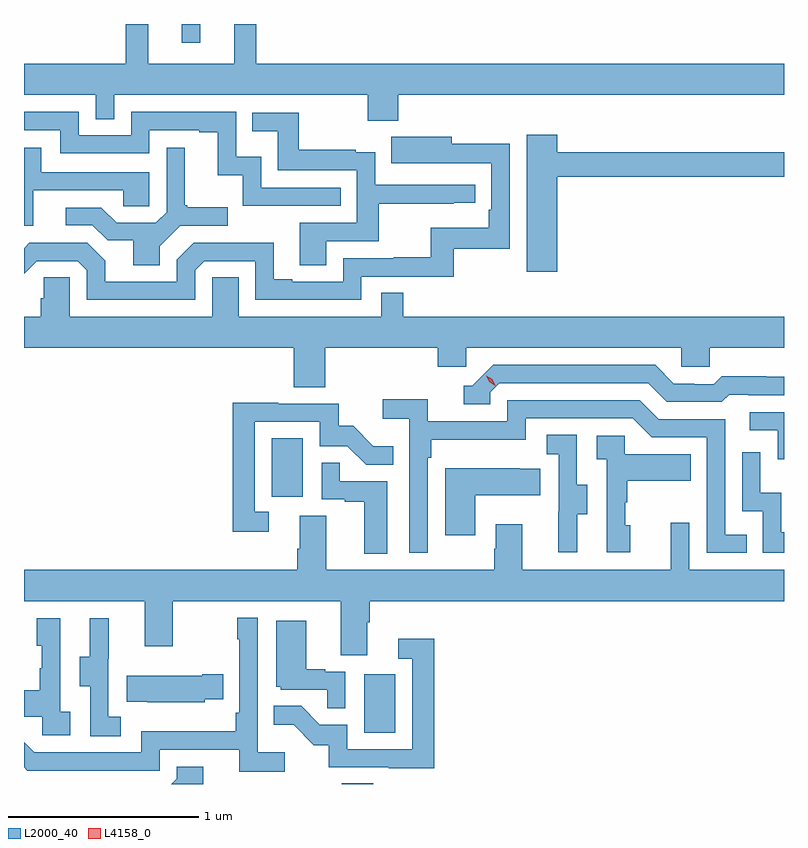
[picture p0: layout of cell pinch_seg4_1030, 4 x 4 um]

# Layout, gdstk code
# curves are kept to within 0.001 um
import gdstk
lib = gdstk.Library(unit=1e-6, precision=1e-09)
def R(c, l, rs):  # rectangles x0, y0, x1, y1
    for r in rs: c.add(gdstk.rectangle(r[:2], r[2:], *l))
def P(c, l, *ps):  # polygons
    for p in ps: c.add(gdstk.Polygon(p, *l))
L2000_40 = (2000, 40)
L4158_0 = (4158, 0)

pinch_seg4_1030 = lib.new_cell('pinch_seg4_1030')
R(pinch_seg4_1030, L2000_40, [(818.813,754.565,818.978,754.568), (818.93,754.836,819.094,755.143), (818.444,756.078,818.608,756.385), (817.97,758.466,818.067,758.565)])
P(pinch_seg4_1030, L2000_40, [(819.11,758.192),(821.14,758.192),(821.14,758.356),(818.363,758.356),(818.363,758.565),(818.246,758.565),(818.246,758.356),(817.793,758.356),(817.793,758.565),(817.675,758.565),(817.675,758.356),(817.14,758.356),(817.14,758.192),(817.518,758.192),(817.518,758.065),(817.614,758.065),(817.614,758.192),(818.95,758.192),(818.95,758.057),(819.11,758.057)],
  [(818.807,757.704),(818.388,757.704),(818.388,757.867),(818.256,757.867),(818.256,758.103),(817.704,758.103),(817.704,757.98),(817.428,757.98),(817.428,758.103),(817.14,758.103),(817.14,758.007),(817.332,758.007),(817.332,757.884),(817.8,757.884),(817.8,758.007),(818.063,758.007),(818.063,757.995),(818.159,757.995),(818.159,757.769),(818.292,757.769),(818.292,757.608),(818.807,757.608)],
  [(818.731,757.422),(819.008,757.422),(819.008,757.618),(819.401,757.618),(819.401,757.623),(819.514,757.623),(819.514,757.719),(818.988,757.719),(818.988,757.891),(818.885,757.891),(818.885,757.903),(818.587,757.903),(818.587,758.097),(818.341,758.097),(818.341,758),(818.476,758),(818.476,757.794),(818.892,757.794),(818.892,757.518),(818.591,757.518),(818.591,757.294),(818.731,757.294)],
  [(819.946,757.762),(821.14,757.762),(821.14,757.891),(819.946,757.891),(819.946,757.981),(819.785,757.981),(819.785,757.26),(819.946,757.26)],
  [(818.04,757.269),(818.088,757.317),(818.358,757.317),(818.358,757.113),(818.916,757.113),(818.916,757.236),(819.403,757.236),(819.403,757.383),(819.696,757.383),(819.696,757.934),(819.391,757.934),(819.391,757.972),(819.073,757.972),(819.073,757.832),(819.6,757.833),(819.6,757.588),(819.587,757.588),(819.587,757.492),(819.282,757.492),(819.282,757.337),(819.085,757.337),(819.085,757.332),(818.82,757.332),(818.82,757.209),(818.551,757.209),(818.551,757.222),(818.455,757.222),(818.455,757.415),(818.25,757.415),(818.25,757.413),(818.034,757.413),(817.944,757.323),(817.944,757.209),(817.567,757.209),(817.567,757.319),(817.473,757.413),(817.167,757.413),(817.14,757.386),(817.14,757.251),(817.206,757.317),(817.422,757.317),(817.47,757.269),(817.47,757.113),(818.04,757.113)],
  [(817.855,757.396),(817.962,757.503),(818.212,757.503),(818.212,757.6),(817.999,757.6),(817.999,757.612),(817.987,757.612),(817.987,757.915),(817.89,757.915),(817.89,757.575),(817.833,757.518),(817.627,757.518),(817.546,757.599),(817.359,757.599),(817.359,757.506),(817.5,757.506),(817.58,757.426),(817.715,757.426),(817.715,757.294),(817.855,757.294)],
  [(817.189,757.689),(817.663,757.689),(817.663,757.605),(817.8,757.605),(817.8,757.785),(817.231,757.785),(817.231,757.915),(817.14,757.915),(817.14,757.503),(817.189,757.503)],
  [(818.726,756.86),(819.317,756.86),(819.317,756.762),(819.468,756.762),(819.468,756.86),(820.599,756.86),(820.599,756.762),(820.749,756.762),(820.749,756.86),(821.14,756.86),(821.14,757.024),(819.137,757.024),(819.137,757.151),(819.021,757.151),(819.021,757.024),(818.269,757.024),(818.269,757.232),(818.13,757.232),(818.13,757.024),(817.38,757.024),(817.38,757.232),(817.243,757.232),(817.243,757.122),(817.229,757.122),(817.229,757.024),(817.14,757.024),(817.14,756.86),(818.561,756.86),(818.561,756.652),(818.726,756.652)],
  [(819.594,756.627),(819.642,756.675),(820.425,756.675),(820.524,756.576),(820.813,756.576),(820.852,756.615),(820.951,756.615),(820.951,756.612),(821.14,756.612),(821.14,756.709),(821.046,756.709),(821.046,756.712),(820.813,756.712),(820.771,756.669),(820.668,756.669),(820.668,756.672),(820.561,756.672),(820.462,756.771),(819.609,756.771),(819.498,756.66),(819.455,756.66),(819.455,756.564),(819.594,756.564)],
  [(819.264,756.281),(819.284,756.281),(819.284,756.377),(819.78,756.377),(819.78,756.489),(820.344,756.489),(820.443,756.39),(820.734,756.39),(820.734,755.781),(820.943,755.781),(820.943,755.877),(820.83,755.877),(820.83,756.486),(820.48,756.486),(820.381,756.585),(819.684,756.585),(819.684,756.474),(819.266,756.474),(819.266,756.59),(819.027,756.59),(819.027,756.488),(819.168,756.488),(819.168,755.781),(819.264,755.781)],
  [(818.428,755.997),(818.355,755.997),(818.355,756.471),(818.697,756.471),(818.697,756.342),(818.842,756.342),(818.94,756.244),(819.083,756.244),(819.083,756.343),(818.979,756.343),(818.872,756.45),(818.796,756.45),(818.796,756.567),(818.477,756.567),(818.477,756.572),(818.239,756.572),(818.239,755.892),(818.428,755.892)],
  [(821.14,756.522),(820.959,756.522),(820.959,756.426),(821.106,756.426),(821.106,756.273),(821.14,756.273)],
  [(820.051,755.986),(820.105,755.986),(820.105,756.141),(820.05,756.141),(820.05,756.404),(819.891,756.404),(819.891,756.301),(819.954,756.301),(819.954,755.997),(819.953,755.997),(819.953,755.784),(820.051,755.784)],
  [(820.33,755.928),(820.305,755.928),(820.305,756.047),(820.315,756.047),(820.315,756.161),(820.649,756.161),(820.649,756.301),(820.302,756.301),(820.302,756.399),(820.155,756.399),(820.155,756.275),(820.206,756.275),(820.206,755.784),(820.33,755.784)],
  [(821.14,755.89),(821.126,755.89),(821.126,756.098),(821.016,756.098),(821.016,756.31),(820.92,756.31),(820.92,756),(821.028,756),(821.028,755.781),(821.14,755.781)],
  [(819.052,756.159),(818.801,756.159),(818.801,756.257),(818.706,756.257),(818.706,756.063),(818.827,756.063),(818.827,756.051),(818.93,756.051),(818.93,755.777),(819.052,755.777)],
  [(819.514,756.086),(819.857,756.086),(819.857,756.223),(819.749,756.223),(819.749,756.226),(819.356,756.226),(819.356,755.874),(819.514,755.874)],
  [(818.731,755.978),(818.591,755.978),(818.591,755.804),(818.579,755.804),(818.579,755.692),(817.14,755.692),(817.14,755.528),(817.775,755.528),(817.775,755.289),(817.923,755.289),(817.923,755.528),(818.807,755.528),(818.807,755.242),(818.947,755.242),(818.947,755.416),(818.96,755.416),(818.96,755.528),(821.14,755.528),(821.14,755.692),(820.641,755.692),(820.641,755.941),(820.544,755.941),(820.544,755.692),(819.763,755.692),(819.763,755.932),(819.623,755.932),(819.623,755.804),(819.616,755.804),(819.616,755.692),(818.731,755.692)],
  [(818.512,754.732),(818.37,754.732),(818.37,755.44),(818.262,755.44),(818.262,755.327),(818.274,755.327),(818.274,754.939),(818.254,754.939),(818.254,754.843),(817.758,754.843),(817.758,754.731),(817.194,754.731),(817.14,754.785),(817.14,754.652),(817.157,754.635),(817.854,754.635),(817.854,754.746),(818.273,754.746),(818.273,754.63),(818.512,754.63)],
  [(817.384,754.946),(817.332,754.946),(817.332,755.437),(817.208,755.437),(817.208,755.292),(817.234,755.292),(817.234,755.174),(817.224,755.174),(817.224,755.059),(817.14,755.059),(817.14,754.919),(817.236,754.919),(817.236,754.821),(817.384,754.821)],
  [(817.648,754.919),(817.584,754.919),(817.584,755.223),(817.586,755.223),(817.586,755.437),(817.487,755.437),(817.487,755.235),(817.433,755.235),(817.433,755.08),(817.488,755.08),(817.488,754.816),(817.648,754.816)],
  [(818.832,755.157),(818.726,755.157),(818.726,755.17),(818.626,755.17),(818.626,755.425),(818.468,755.425),(818.468,755.076),(818.49,755.076),(818.49,755.061),(818.737,755.061),(818.737,754.963),(818.832,754.963)],
  [(819.299,755.329),(819.111,755.329),(819.111,755.223),(819.183,755.223),(819.183,754.749),(818.841,754.749),(818.841,754.878),(818.697,754.878),(818.599,754.976),(818.455,754.976),(818.455,754.877),(818.559,754.877),(818.666,754.77),(818.743,754.77),(818.743,754.653),(819.061,754.653),(819.061,754.648),(819.299,754.648)],
  [(818.091,755.012),(818.189,755.012),(818.189,755.142),(818.078,755.142),(818.078,755.134),(817.681,755.134),(817.681,754.997),(817.789,754.997),(817.789,754.994),(818.091,754.994)],
  [(818.083,754.656),(817.944,754.656),(817.944,754.593),(817.916,754.565),(818.083,754.565)])
P(pinch_seg4_1030, L4158_0, [(819.619,756.662),(819.588,756.682),(819.573,756.714),(819.573,756.715),(819.573,756.715),(819.604,756.695),(819.619,756.662),(819.619,756.662)])

lib.write_gds('pinch_seg4_1030.gds')
